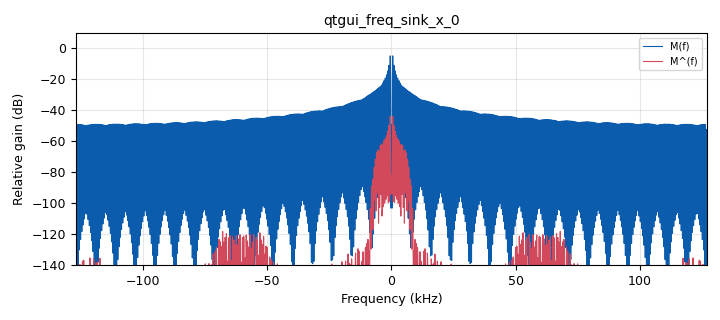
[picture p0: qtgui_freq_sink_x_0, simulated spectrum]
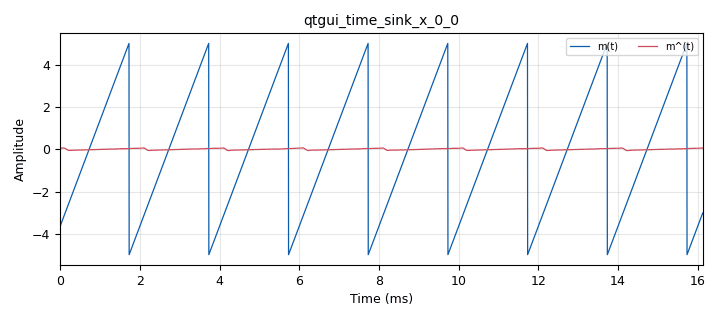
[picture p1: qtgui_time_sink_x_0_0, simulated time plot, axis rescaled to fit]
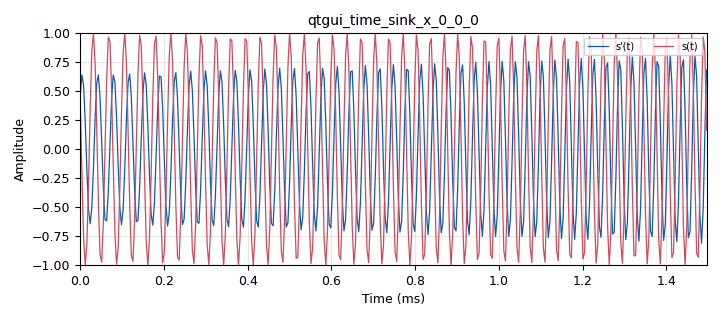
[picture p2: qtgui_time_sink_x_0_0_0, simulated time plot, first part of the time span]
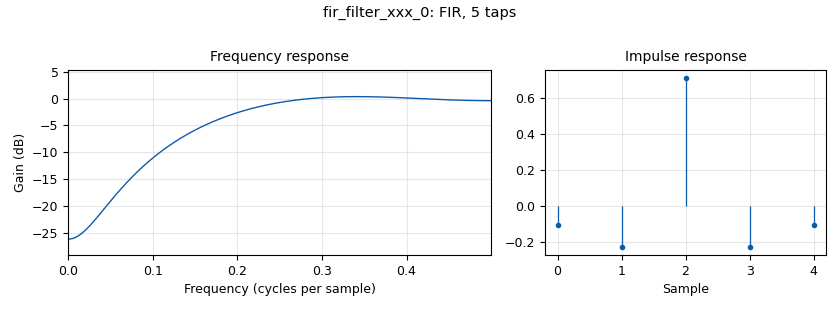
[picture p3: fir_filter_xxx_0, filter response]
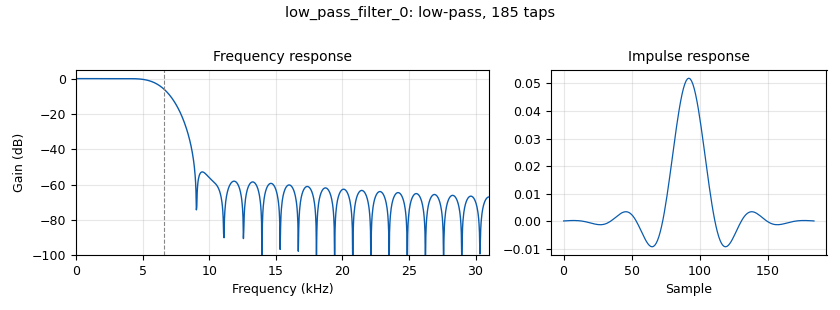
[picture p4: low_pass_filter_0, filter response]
<?xml version='1.0' encoding='utf-8'?>
<?grc format='1' created='3.7.9'?>
<flow_graph>
<block>
<key>options</key>
<param><key>id</key><value>top_block</value></param>
<param><key>category</key><value>Custom</value></param>
<param><key>generate_options</key><value>qt_gui</value></param>
</block>
<block>
<key>variable</key>
<param><key>id</key><value>fc</value></param>
<param><key>value</key><value>30000</value></param>
</block>
<block>
<key>variable</key>
<param><key>id</key><value>kvco</value></param>
<param><key>value</key><value>1000</value></param>
</block>
<block>
<key>variable</key>
<param><key>id</key><value>samp_rate</value></param>
<param><key>value</key><value>254000</value></param>
</block>
<block>
<key>analog_sig_source_x</key>
<param><key>id</key><value>analog_sig_source_x_0</value></param>
<param><key>amp</key><value>1</value></param>
<param><key>freq</key><value>fc</value></param>
<param><key>offset</key><value>0</value></param>
<param><key>type</key><value>complex</value></param>
<param><key>samp_rate</key><value>samp_rate</value></param>
<param><key>waveform</key><value>analog.GR_COS_WAVE</value></param>
</block>
<block>
<key>blocks_abs_xx</key>
<param><key>id</key><value>blocks_abs_xx_0</value></param>
<param><key>type</key><value>float</value></param>
</block>
<block>
<key>blocks_complex_to_real</key>
<param><key>id</key><value>blocks_complex_to_real_0</value></param>
</block>
<block>
<key>blocks_complex_to_real</key>
<param><key>id</key><value>blocks_complex_to_real_0_0</value></param>
</block>
<block>
<key>blocks_delay</key>
<param><key>id</key><value>blocks_delay_0</value></param>
<param><key>delay</key><value>1</value></param>
<param><key>type</key><value>float</value></param>
</block>
<block>
<key>blocks_integrate_xx</key>
<param><key>id</key><value>blocks_integrate_xx_0</value></param>
<param><key>decim</key><value>1</value></param>
<param><key>type</key><value>float</value></param>
</block>
<block>
<key>blocks_multiply_xx</key>
<param><key>id</key><value>blocks_multiply_xx_0</value></param>
<param><key>type</key><value>complex</value></param>
</block>
<block>
<key>blocks_sub_xx</key>
<param><key>id</key><value>blocks_sub_xx_0</value></param>
<param><key>type</key><value>float</value></param>
</block>
<block>
<key>blocks_vco_c</key>
<param><key>id</key><value>blocks_vco_c_0</value></param>
<param><key>amplitude</key><value>1</value></param>
<param><key>samp_rate</key><value>samp_rate</value></param>
<param><key>sensitivity</key><value>2*3.14159265*kvco</value></param>
</block>
<block>
<key>dc_blocker_xx</key>
<param><key>id</key><value>dc_blocker_xx_0</value></param>
<param><key>length</key><value>1024</value></param>
<param><key>long_form</key><value>True</value></param>
<param><key>type</key><value>ff</value></param>
</block>
<block>
<key>fir_filter_xxx</key>
<param><key>id</key><value>fir_filter_xxx_0</value></param>
<param><key>decim</key><value>1</value></param>
<param><key>taps</key><value>[-0.1044, -0.2268, 0.7116, -0.2268, -0.1044]</value></param>
<param><key>type</key><value>ccc</value></param>
</block>
<block>
<key>low_pass_filter</key>
<param><key>id</key><value>low_pass_filter_0</value></param>
<param><key>cutoff_freq</key><value>6600</value></param>
<param><key>decim</key><value>1</value></param>
<param><key>type</key><value>fir_filter_fff</value></param>
<param><key>gain</key><value>1</value></param>
<param><key>samp_rate</key><value>samp_rate</value></param>
<param><key>width</key><value>3300</value></param>
<param><key>win</key><value>firdes.WIN_HAMMING</value></param>
</block>
<block>
<key>qtgui_freq_sink_x</key>
<param><key>id</key><value>qtgui_freq_sink_x_0</value></param>
<param><key>bw</key><value>samp_rate</value></param>
<param><key>fc</key><value>0</value></param>
<param><key>ctrlpanel</key><value>True</value></param>
<param><key>fftsize</key><value>4096</value></param>
<param><key>grid</key><value>True</value></param>
<param><key>label1</key><value>M(f)</value></param>
<param><key>label2</key><value>M^(f)</value></param>
<param><key>nconnections</key><value>2</value></param>
<param><key>showports</key><value>True</value></param>
<param><key>type</key><value>float</value></param>
<param><key>wintype</key><value>firdes.WIN_BLACKMAN_hARRIS</value></param>
</block>
<block>
<key>qtgui_time_sink_x</key>
<param><key>id</key><value>qtgui_time_sink_x_0_0</value></param>
<param><key>ctrlpanel</key><value>True</value></param>
<param><key>grid</key><value>True</value></param>
<param><key>color1</key><value>"blue"</value></param>
<param><key>label1</key><value>m(t)</value></param>
<param><key>color2</key><value>"red"</value></param>
<param><key>label2</key><value>m^(t)</value></param>
<param><key>nconnections</key><value>2</value></param>
<param><key>size</key><value>4096</value></param>
<param><key>srate</key><value>samp_rate</value></param>
<param><key>type</key><value>float</value></param>
</block>
<block>
<key>qtgui_time_sink_x</key>
<param><key>id</key><value>qtgui_time_sink_x_0_0_0</value></param>
<param><key>ctrlpanel</key><value>True</value></param>
<param><key>grid</key><value>True</value></param>
<param><key>color1</key><value>"blue"</value></param>
<param><key>label1</key><value>s'(t)</value></param>
<param><key>color2</key><value>"red"</value></param>
<param><key>label2</key><value>s(t)</value></param>
<param><key>nconnections</key><value>2</value></param>
<param><key>size</key><value>4096</value></param>
<param><key>srate</key><value>samp_rate</value></param>
<param><key>type</key><value>float</value></param>
</block>
<block>
<key>analog_sig_source_x</key>
<param><key>id</key><value>v</value></param>
<param><key>amp</key><value>10</value></param>
<param><key>freq</key><value>500</value></param>
<param><key>offset</key><value>-5</value></param>
<param><key>type</key><value>float</value></param>
<param><key>samp_rate</key><value>samp_rate</value></param>
<param><key>waveform</key><value>analog.GR_SAW_WAVE</value></param>
</block>
<connection><source_block_id>analog_sig_source_x_0</source_block_id><sink_block_id>blocks_multiply_xx_0</sink_block_id><source_key>0</source_key><sink_key>1</sink_key></connection>
<connection><source_block_id>blocks_abs_xx_0</source_block_id><sink_block_id>low_pass_filter_0</sink_block_id><source_key>0</source_key><sink_key>0</sink_key></connection>
<connection><source_block_id>blocks_complex_to_real_0</source_block_id><sink_block_id>blocks_abs_xx_0</sink_block_id><source_key>0</source_key><sink_key>0</sink_key></connection>
<connection><source_block_id>blocks_complex_to_real_0_0</source_block_id><sink_block_id>blocks_delay_0</sink_block_id><source_key>0</source_key><sink_key>0</sink_key></connection>
<connection><source_block_id>blocks_complex_to_real_0_0</source_block_id><sink_block_id>blocks_sub_xx_0</sink_block_id><source_key>0</source_key><sink_key>1</sink_key></connection>
<connection><source_block_id>blocks_complex_to_real_0_0</source_block_id><sink_block_id>qtgui_time_sink_x_0_0_0</sink_block_id><source_key>0</source_key><sink_key>1</sink_key></connection>
<connection><source_block_id>blocks_delay_0</source_block_id><sink_block_id>blocks_sub_xx_0</sink_block_id><source_key>0</source_key><sink_key>0</sink_key></connection>
<connection><source_block_id>blocks_integrate_xx_0</source_block_id><sink_block_id>blocks_vco_c_0</sink_block_id><source_key>0</source_key><sink_key>0</sink_key></connection>
<connection><source_block_id>blocks_multiply_xx_0</source_block_id><sink_block_id>blocks_complex_to_real_0_0</sink_block_id><source_key>0</source_key><sink_key>0</sink_key></connection>
<connection><source_block_id>blocks_multiply_xx_0</source_block_id><sink_block_id>fir_filter_xxx_0</sink_block_id><source_key>0</source_key><sink_key>0</sink_key></connection>
<connection><source_block_id>blocks_sub_xx_0</source_block_id><sink_block_id>qtgui_time_sink_x_0_0_0</sink_block_id><source_key>0</source_key><sink_key>0</sink_key></connection>
<connection><source_block_id>blocks_vco_c_0</source_block_id><sink_block_id>blocks_multiply_xx_0</sink_block_id><source_key>0</source_key><sink_key>0</sink_key></connection>
<connection><source_block_id>dc_blocker_xx_0</source_block_id><sink_block_id>qtgui_freq_sink_x_0</sink_block_id><source_key>0</source_key><sink_key>1</sink_key></connection>
<connection><source_block_id>dc_blocker_xx_0</source_block_id><sink_block_id>qtgui_time_sink_x_0_0</sink_block_id><source_key>0</source_key><sink_key>1</sink_key></connection>
<connection><source_block_id>fir_filter_xxx_0</source_block_id><sink_block_id>blocks_complex_to_real_0</sink_block_id><source_key>0</source_key><sink_key>0</sink_key></connection>
<connection><source_block_id>low_pass_filter_0</source_block_id><sink_block_id>dc_blocker_xx_0</sink_block_id><source_key>0</source_key><sink_key>0</sink_key></connection>
<connection><source_block_id>v</source_block_id><sink_block_id>blocks_integrate_xx_0</sink_block_id><source_key>0</source_key><sink_key>0</sink_key></connection>
<connection><source_block_id>v</source_block_id><sink_block_id>qtgui_freq_sink_x_0</sink_block_id><source_key>0</source_key><sink_key>0</sink_key></connection>
<connection><source_block_id>v</source_block_id><sink_block_id>qtgui_time_sink_x_0_0</sink_block_id><source_key>0</source_key><sink_key>0</sink_key></connection>
</flow_graph>
